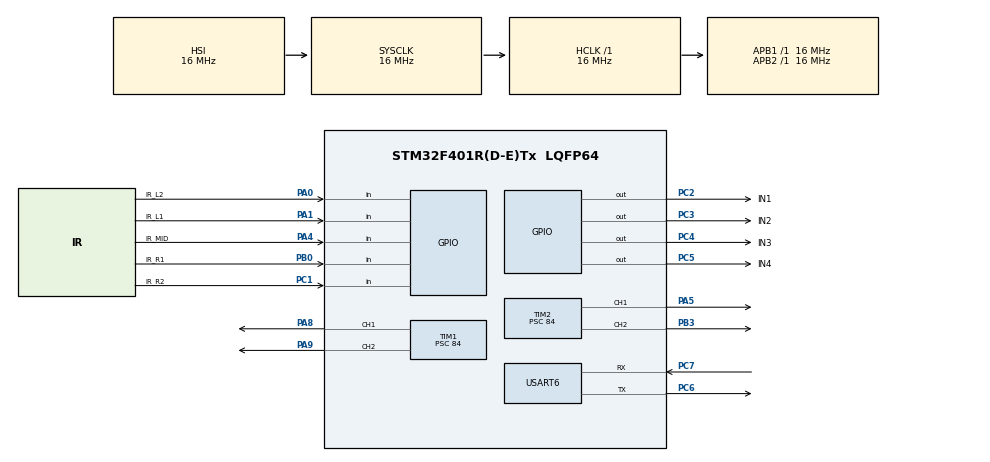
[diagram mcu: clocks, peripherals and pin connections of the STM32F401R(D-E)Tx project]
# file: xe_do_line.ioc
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Mcu.Family=STM32F4
Mcu.Name=STM32F401R(D-E)Tx
Mcu.Package=LQFP64
NVIC.PriorityGroup=NVIC_PRIORITYGROUP_4
NVIC.USART6_IRQn=true\:0\:0\:false\:false\:true\:true\:true\:true
PA0-WKUP.GPIO_Label=IR_L2
PA0-WKUP.Signal=GPIO_Input
PA1.GPIO_Label=IR_L1
PA1.Signal=GPIO_Input
PA13.Mode=Serial_Wire
PA13.Signal=SYS_JTMS-SWDIO
PA14.Mode=Serial_Wire
PA14.Signal=SYS_JTCK-SWCLK
PA4.GPIO_Label=IR_MID
PA4.Signal=GPIO_Input
PA5.Signal=S_TIM2_CH1_ETR
PA8.Signal=S_TIM1_CH1
PA9.Signal=S_TIM1_CH2
PB0.GPIO_Label=IR_R1
PB0.Signal=GPIO_Input
PB3.Signal=S_TIM2_CH2
PC1.GPIO_Label=IR_R2
PC1.Signal=GPIO_Input
PC2.GPIO_Label=IN1
PC2.Signal=GPIO_Output
PC3.GPIO_Label=IN2
PC3.Signal=GPIO_Output
PC4.GPIO_Label=IN3
PC4.Signal=GPIO_Output
PC5.GPIO_Label=IN4
PC5.Signal=GPIO_Output
PC6.Mode=Asynchronous
PC6.Signal=USART6_TX
PC7.Mode=Asynchronous
PC7.Signal=USART6_RX
ProjectManager.HeapSize=0x200
ProjectManager.StackSize=0x400
ProjectManager.TargetToolchain=STM32CubeIDE
RCC.AHBFreq_Value=16000000
RCC.APB1Freq_Value=16000000
RCC.APB2Freq_Value=16000000
RCC.CortexFreq_Value=16000000
RCC.HSE_VALUE=25000000
RCC.HSI_VALUE=16000000
RCC.LSE_VALUE=32768
RCC.SYSCLKFreq_VALUE=16000000
RCC.VCOOutputFreq_Value=192000000
SH.S_TIM1_CH1.0=TIM1_CH1,PWM Generation1 CH1
SH.S_TIM1_CH2.0=TIM1_CH2,PWM Generation2 CH2
SH.S_TIM2_CH1_ETR.0=TIM2_CH1,PWM Generation1 CH1
SH.S_TIM2_CH2.0=TIM2_CH2,PWM Generation2 CH2
TIM1.Channel-PWM\ Generation1\ CH1=TIM_CHANNEL_1
TIM1.Channel-PWM\ Generation2\ CH2=TIM_CHANNEL_2
TIM1.Prescaler=84
TIM2.Channel-PWM\ Generation1\ CH1=TIM_CHANNEL_1
TIM2.Channel-PWM\ Generation2\ CH2=TIM_CHANNEL_2
TIM2.Period=1000
TIM2.Prescaler=84
USART6.VirtualMode=VM_ASYNC
VP_TIM1_VS_ClockSourceINT.Mode=Internal
VP_TIM2_VS_ClockSourceINT.Mode=Internal
board=custom

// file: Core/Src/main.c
/* USER CODE BEGIN Header */
/**
  ******************************************************************************
  * @file           : main.c
  * @brief          : Mã nguồn hoàn chỉnh Xe Dò Line PID - Giao tiếp MQTT
  ******************************************************************************
  */
/* USER CODE END Header */
#include "main.h"

/* USER CODE BEGIN Includes */
#include <stdlib.h>
#include <string.h>
/* USER CODE END Includes */

TIM_HandleTypeDef htim1;
TIM_HandleTypeDef htim2;
UART_HandleTypeDef huart6;

/* USER CODE BEGIN PV */
uint8_t rx_byte;
char rx_buffer[150];
int rx_index = 0;

volatile uint8_t data_ready = 0; // Cờ báo hiệu đã nhận xong JSON

volatile int robot_mode = 1;     // 1: Auto (Dò line), 0: Manual
volatile char robot_dir = 'S';

float error = 0;
float previous_error = 0;
float P = 0, I = 0, D = 0, PID_value = 0;

float Kp = 100.0; // Giảm Kp ban đầu để test an toàn
float Ki = 0.0;
float Kd = 100;
int base_speed = 180; // Tốc độ nền vừa phải
/* USER CODE END PV */

void SystemClock_Config(void);
static void MX_GPIO_Init(void);
static void MX_TIM1_Init(void);
static void MX_TIM2_Init(void);
static void MX_USART6_UART_Init(void);

/* USER CODE BEGIN PFP */
float get_line_error(void);
void set_motor_speed(int speed_left, int speed_right);
void calculate_pid(void);
/* USER CODE END PFP */

int main(void)
{
  HAL_Init();
  SystemClock_Config();
  MX_GPIO_Init();
  MX_TIM1_Init();
  MX_TIM2_Init();
  MX_USART6_UART_Init();

  HAL_TIM_PWM_Start(&htim1, TIM_CHANNEL_1);
  HAL_TIM_PWM_Start(&htim1, TIM_CHANNEL_2);

  // Kích hoạt ngắt nhận UART ký tự đầu tiên
  HAL_UART_Receive_IT(&huart6, &rx_byte, 1);

  HAL_Delay(2000);

  while (1)
  {
    // 1. CHỐNG TREO UART
    __HAL_UART_CLEAR_OREFLAG(&huart6);

    // 2. XỬ LÝ CHUỖI JSON
    if (data_ready == 1) {
            char *ptr;

            // Kiểm tra nếu chuỗi chứa các thông số cấu hình
            if (strstr(rx_buffer, "\"Kp\"")) {
                if ((ptr = strstr(rx_buffer, "\"Kp\":")) != NULL) Kp = atof(ptr + 5);
                if ((ptr = strstr(rx_buffer, "\"Ki\":")) != NULL) Ki = atof(ptr + 5);
                if ((ptr = strstr(rx_buffer, "\"Kd\":")) != NULL) Kd = atof(ptr + 5);

                // THÊM DÒNG NÀY: Tách giá trị Base Speed
                if ((ptr = strstr(rx_buffer, "\"Base\":")) != NULL) base_speed = atoi(ptr + 7);
            }
            // Các xử lý mode và dir giữ nguyên...
            else if (strstr(rx_buffer, "\"mode\"")) {
                if ((ptr = strstr(rx_buffer, "\"mode\":")) != NULL) robot_mode = atoi(ptr + 7);
                if ((ptr = strstr(rx_buffer, "\"dir\":\"")) != NULL) robot_dir = *(ptr + 7);
            }

            rx_index = 0;
            data_ready = 0;
        }

    // 3. ĐIỀU KHIỂN ĐỘNG CƠ
    // 3. ĐIỀU KHIỂN ĐỘNG CƠ
        if (robot_mode == 1) {
            // --- CHẾ ĐỘ AUTO (DÒ LINE) ---
            error = get_line_error();

            if (error != 99) {
                // ==========================================
                // TRƯỜNG HỢP 1: XE ĐANG NẰM TRÊN VẠCH
                // ==========================================
                calculate_pid();

                int left_motor_speed = base_speed - PID_value;
                int right_motor_speed = base_speed + PID_value;

                // Khống chế bão hòa PWM
                if (left_motor_speed > 1000) left_motor_speed = 1000;
                if (left_motor_speed < -1000) left_motor_speed = -1000;
                if (right_motor_speed > 1000) right_motor_speed = 1000;
                if (right_motor_speed < -1000) right_motor_speed = -1000;

                set_motor_speed(left_motor_speed, right_motor_speed);
            }
            else {
                // ==========================================
                // TRƯỜNG HỢP 2: XE BỊ VĂNG KHỎI VẠCH (error == 99)
                // ÁP DỤNG CƠ CHẾ "NHỚ" ĐỂ TÌM LẠI LINE
                // ==========================================
                int pivot_speed = 150; // Tốc độ cấp cho động cơ để xoay xe tại chỗ

                if (previous_error < -0.5) {
                    // Trước khi mất, vạch ở bên TRÁI -> Khóa bánh, xoay tại chỗ sang TRÁI
                    set_motor_speed(-pivot_speed, pivot_speed);
                }
                else if (previous_error > 0.5) {
                    // Trước khi mất, vạch ở bên PHẢI -> Khóa bánh, xoay tại chỗ sang PHẢI
                    set_motor_speed(pivot_speed, -pivot_speed);
                }
                else {
                    // Nếu mất line khi đang đi thẳng (có thể do vạch đứt quãng) -> Đi thẳng chậm lại
                    set_motor_speed(pivot_speed / 2, pivot_speed / 2);
                }
            }
        } else {
            // --- CHẾ ĐỘ MANUAL (LÁI TAY) ---
            // (Đoạn này giữ nguyên như cũ)
            int manual_speed = 400;
            if (robot_dir == 'F')      set_motor_speed(manual_speed, manual_speed);
            else if (robot_dir == 'B') set_motor_speed(-manual_speed, -manual_speed);
            else if (robot_dir == 'L') set_motor_speed(-manual_speed, manual_speed);
            else if (robot_dir == 'R') set_motor_speed(manual_speed, -manual_speed);
            else                       set_motor_speed(0, 0);
        }

    HAL_Delay(10);
  }
}

/* --- CÁC HÀM XỬ LÝ CON --- */

// QUAN TRỌNG: Đã thêm lại dấu (!) để lấy được tín hiệu mức 1 từ vạch đen
float get_line_error(void) {
    uint8_t s[5];
    s[0] = !HAL_GPIO_ReadPin(GPIOA, GPIO_PIN_0);
    s[1] = !HAL_GPIO_ReadPin(GPIOA, GPIO_PIN_1);
    s[2] = !HAL_GPIO_ReadPin(GPIOA, GPIO_PIN_4);
    s[3] = !HAL_GPIO_ReadPin(GPIOB, GPIO_PIN_0);
    s[4] = !HAL_GPIO_ReadPin(GPIOC, GPIO_PIN_1);

    int sum = s[0] + s[1] + s[2] + s[3] + s[4];

    if (sum == 0) return 99;

    float current_error = (s[0]*(-2.0) + s[1]*(-1.0) + s[2]*(0.0) + s[3]*(1.0) + s[4]*(2.0)) / sum;
    return current_error;
}

void set_motor_speed(int speed_left, int speed_right) {
    if (speed_left >= 0) {
        HAL_GPIO_WritePin(GPIOC, GPIO_PIN_2, GPIO_PIN_SET);
        HAL_GPIO_WritePin(GPIOC, GPIO_PIN_3, GPIO_PIN_RESET);
        __HAL_TIM_SET_COMPARE(&htim1, TIM_CHANNEL_1, speed_left);
    } else {
        HAL_GPIO_WritePin(GPIOC, GPIO_PIN_2, GPIO_PIN_RESET);
        HAL_GPIO_WritePin(GPIOC, GPIO_PIN_3, GPIO_PIN_SET);
        __HAL_TIM_SET_COMPARE(&htim1, TIM_CHANNEL_1, -speed_left);
    }

    if (speed_right >= 0) {
        HAL_GPIO_WritePin(GPIOC, GPIO_PIN_4, GPIO_PIN_SET);
        HAL_GPIO_WritePin(GPIOC, GPIO_PIN_5, GPIO_PIN_RESET);
        __HAL_TIM_SET_COMPARE(&htim1, TIM_CHANNEL_2, speed_right);
    } else {
        HAL_GPIO_WritePin(GPIOC, GPIO_PIN_4, GPIO_PIN_RESET);
        HAL_GPIO_WritePin(GPIOC, GPIO_PIN_5, GPIO_PIN_SET);
        __HAL_TIM_SET_COMPARE(&htim1, TIM_CHANNEL_2, -speed_right);
    }
}

void calculate_pid(void) {
    P = error;
    I = I + error;
    D = error - previous_error;
    PID_value = (Kp * P) + (Ki * I) + (Kd * D);
    previous_error = error;
}

void HAL_UART_RxCpltCallback(UART_HandleTypeDef *huart) {
    if (huart->Instance == USART6) {
        if (rx_byte == '\n' || rx_byte == '\r') {
            if(rx_index > 0) {
                rx_buffer[rx_index] = '\0';
                data_ready = 1;
            }
        }
        else {
            if (rx_index < 149 && data_ready == 0) {
                rx_buffer[rx_index++] = rx_byte;
            }
        }
        HAL_UART_Receive_IT(&huart6, &rx_byte, 1);
    }
}

/* -------------------------------------------------------------------------
   CÁC HÀM INIT PHẦN CỨNG TỰ ĐỘNG SINH BỞI CUBEMX
   ------------------------------------------------------------------------- */
void SystemClock_Config(void)
{
  RCC_OscInitTypeDef RCC_OscInitStruct = {0};
  RCC_ClkInitTypeDef RCC_ClkInitStruct = {0};

  __HAL_RCC_PWR_CLK_ENABLE();
  __HAL_PWR_VOLTAGESCALING_CONFIG(PWR_REGULATOR_VOLTAGE_SCALE2);

  RCC_OscInitStruct.OscillatorType = RCC_OSCILLATORTYPE_HSI;
  RCC_OscInitStruct.HSIState = RCC_HSI_ON;
  RCC_OscInitStruct.HSICalibrationValue = RCC_HSICALIBRATION_DEFAULT;
  RCC_OscInitStruct.PLL.PLLState = RCC_PLL_NONE;
  if (HAL_RCC_OscConfig(&RCC_OscInitStruct) != HAL_OK) { Error_Handler(); }

  RCC_ClkInitStruct.ClockType = RCC_CLOCKTYPE_HCLK|RCC_CLOCKTYPE_SYSCLK|RCC_CLOCKTYPE_PCLK1|RCC_CLOCKTYPE_PCLK2;
  RCC_ClkInitStruct.SYSCLKSource = RCC_SYSCLKSOURCE_HSI;
  RCC_ClkInitStruct.AHBCLKDivider = RCC_SYSCLK_DIV1;
  RCC_ClkInitStruct.APB1CLKDivider = RCC_HCLK_DIV1;
  RCC_ClkInitStruct.APB2CLKDivider = RCC_HCLK_DIV1;

  if (HAL_RCC_ClockConfig(&RCC_ClkInitStruct, FLASH_LATENCY_0) != HAL_OK) { Error_Handler(); }
}

static void MX_TIM1_Init(void)
{
  TIM_ClockConfigTypeDef sClockSourceConfig = {0};
  TIM_MasterConfigTypeDef sMasterConfig = {0};
  TIM_OC_InitTypeDef sConfigOC = {0};
  TIM_BreakDeadTimeConfigTypeDef sBreakDeadTimeConfig = {0};

  htim1.Instance = TIM1;
  htim1.Init.Prescaler = 83;
  htim1.Init.CounterMode = TIM_COUNTERMODE_UP;
  htim1.Init.Period = 999;
  htim1.Init.ClockDivision = TIM_CLOCKDIVISION_DIV1;
  htim1.Init.RepetitionCounter = 0;
  htim1.Init.AutoReloadPreload = TIM_AUTORELOAD_PRELOAD_DISABLE;
  if (HAL_TIM_Base_Init(&htim1) != HAL_OK) { Error_Handler(); }

  sClockSourceConfig.ClockSource = TIM_CLOCKSOURCE_INTERNAL;
  if (HAL_TIM_ConfigClockSource(&htim1, &sClockSourceConfig) != HAL_OK) { Error_Handler(); }
  if (HAL_TIM_PWM_Init(&htim1) != HAL_OK) { Error_Handler(); }

  sMasterConfig.MasterOutputTrigger = TIM_TRGO_RESET;
  sMasterConfig.MasterSlaveMode = TIM_MASTERSLAVEMODE_DISABLE;
  if (HAL_TIMEx_MasterConfigSynchronization(&htim1, &sMasterConfig) != HAL_OK) { Error_Handler(); }

  sConfigOC.OCMode = TIM_OCMODE_PWM1;
  sConfigOC.Pulse = 0;
  sConfigOC.OCPolarity = TIM_OCPOLARITY_HIGH;
  sConfigOC.OCNPolarity = TIM_OCNPOLARITY_HIGH;
  sConfigOC.OCFastMode = TIM_OCFAST_DISABLE;
  sConfigOC.OCIdleState = TIM_OCIDLESTATE_RESET;
  sConfigOC.OCNIdleState = TIM_OCNIDLESTATE_RESET;
  if (HAL_TIM_PWM_ConfigChannel(&htim1, &sConfigOC, TIM_CHANNEL_1) != HAL_OK) { Error_Handler(); }
  if (HAL_TIM_PWM_ConfigChannel(&htim1, &sConfigOC, TIM_CHANNEL_2) != HAL_OK) { Error_Handler(); }

  sBreakDeadTimeConfig.OffStateRunMode = TIM_OSSR_DISABLE;
  sBreakDeadTimeConfig.OffStateIDLEMode = TIM_OSSI_DISABLE;
  sBreakDeadTimeConfig.LockLevel = TIM_LOCKLEVEL_OFF;
  sBreakDeadTimeConfig.DeadTime = 0;
  sBreakDeadTimeConfig.BreakState = TIM_BREAK_DISABLE;
  sBreakDeadTimeConfig.BreakPolarity = TIM_BREAKPOLARITY_HIGH;
  sBreakDeadTimeConfig.AutomaticOutput = TIM_AUTOMATICOUTPUT_DISABLE;
  if (HAL_TIMEx_ConfigBreakDeadTime(&htim1, &sBreakDeadTimeConfig) != HAL_OK) { Error_Handler(); }

  HAL_TIM_MspPostInit(&htim1);
}

static void MX_TIM2_Init(void)
{
  TIM_ClockConfigTypeDef sClockSourceConfig = {0};
  TIM_MasterConfigTypeDef sMasterConfig = {0};
  TIM_OC_InitTypeDef sConfigOC = {0};

  htim2.Instance = TIM2;
  htim2.Init.Prescaler = 84;
  htim2.Init.CounterMode = TIM_COUNTERMODE_UP;
  htim2.Init.Period = 1000;
  htim2.Init.ClockDivision = TIM_CLOCKDIVISION_DIV1;
  htim2.Init.AutoReloadPreload = TIM_AUTORELOAD_PRELOAD_DISABLE;
  if (HAL_TIM_Base_Init(&htim2) != HAL_OK) { Error_Handler(); }

  sClockSourceConfig.ClockSource = TIM_CLOCKSOURCE_INTERNAL;
  if (HAL_TIM_ConfigClockSource(&htim2, &sClockSourceConfig) != HAL_OK) { Error_Handler(); }
  if (HAL_TIM_PWM_Init(&htim2) != HAL_OK) { Error_Handler(); }

  sMasterConfig.MasterOutputTrigger = TIM_TRGO_RESET;
  sMasterConfig.MasterSlaveMode = TIM_MASTERSLAVEMODE_DISABLE;
  if (HAL_TIMEx_MasterConfigSynchronization(&htim2, &sMasterConfig) != HAL_OK) { Error_Handler(); }

  sConfigOC.OCMode = TIM_OCMODE_PWM1;
  sConfigOC.Pulse = 0;
  sConfigOC.OCPolarity = TIM_OCPOLARITY_HIGH;
  sConfigOC.OCFastMode = TIM_OCFAST_DISABLE;
  if (HAL_TIM_PWM_ConfigChannel(&htim2, &sConfigOC, TIM_CHANNEL_1) != HAL_OK) { Error_Handler(); }
  if (HAL_TIM_PWM_ConfigChannel(&htim2, &sConfigOC, TIM_CHANNEL_2) != HAL_OK) { Error_Handler(); }

  HAL_TIM_MspPostInit(&htim2);
}

static void MX_USART6_UART_Init(void)
{
  huart6.Instance = USART6;
  huart6.Init.BaudRate = 115200;
  huart6.Init.WordLength = UART_WORDLENGTH_8B;
  huart6.Init.StopBits = UART_STOPBITS_1;
  huart6.Init.Parity = UART_PARITY_NONE;
  huart6.Init.Mode = UART_MODE_TX_RX;
  huart6.Init.HwFlowCtl = UART_HWCONTROL_NONE;
  huart6.Init.OverSampling = UART_OVERSAMPLING_16;
  if (HAL_UART_Init(&huart6) != HAL_OK) { Error_Handler(); }
}

static void MX_GPIO_Init(void)
{
  GPIO_InitTypeDef GPIO_InitStruct = {0};

  __HAL_RCC_GPIOC_CLK_ENABLE();
  __HAL_RCC_GPIOA_CLK_ENABLE();
  __HAL_RCC_GPIOB_CLK_ENABLE();

  HAL_GPIO_WritePin(GPIOC, GPIO_PIN_2|GPIO_PIN_3|GPIO_PIN_4|GPIO_PIN_5, GPIO_PIN_RESET);

  GPIO_InitStruct.Pin = GPIO_PIN_4; // IR_R2_Pin
  GPIO_InitStruct.Mode = GPIO_MODE_INPUT;
  GPIO_InitStruct.Pull = GPIO_NOPULL;
  HAL_GPIO_Init(GPIOA, &GPIO_InitStruct);

  GPIO_InitStruct.Pin = GPIO_PIN_2|GPIO_PIN_3|GPIO_PIN_4|GPIO_PIN_5; // L298N IN1-IN4
  GPIO_InitStruct.Mode = GPIO_MODE_OUTPUT_PP;
  GPIO_InitStruct.Pull = GPIO_NOPULL;
  GPIO_InitStruct.Speed = GPIO_SPEED_FREQ_LOW;
  HAL_GPIO_Init(GPIOC, &GPIO_InitStruct);

  GPIO_InitStruct.Pin = GPIO_PIN_0|GPIO_PIN_1; // IR_L2, IR_L1
  GPIO_InitStruct.Mode = GPIO_MODE_INPUT;
  GPIO_InitStruct.Pull = GPIO_NOPULL;
  HAL_GPIO_Init(GPIOA, &GPIO_InitStruct);

  GPIO_InitStruct.Pin = GPIO_PIN_0; // IR_MID
  GPIO_InitStruct.Mode = GPIO_MODE_INPUT;
  GPIO_InitStruct.Pull = GPIO_NOPULL;
  HAL_GPIO_Init(GPIOB, &GPIO_InitStruct);

  GPIO_InitStruct.Pin = GPIO_PIN_1; // IR_R1
  GPIO_InitStruct.Mode = GPIO_MODE_INPUT;
  GPIO_InitStruct.Pull = GPIO_NOPULL;
  HAL_GPIO_Init(GPIOC, &GPIO_InitStruct);
}

void Error_Handler(void)
{
  __disable_irq();
  while (1) {}
}
